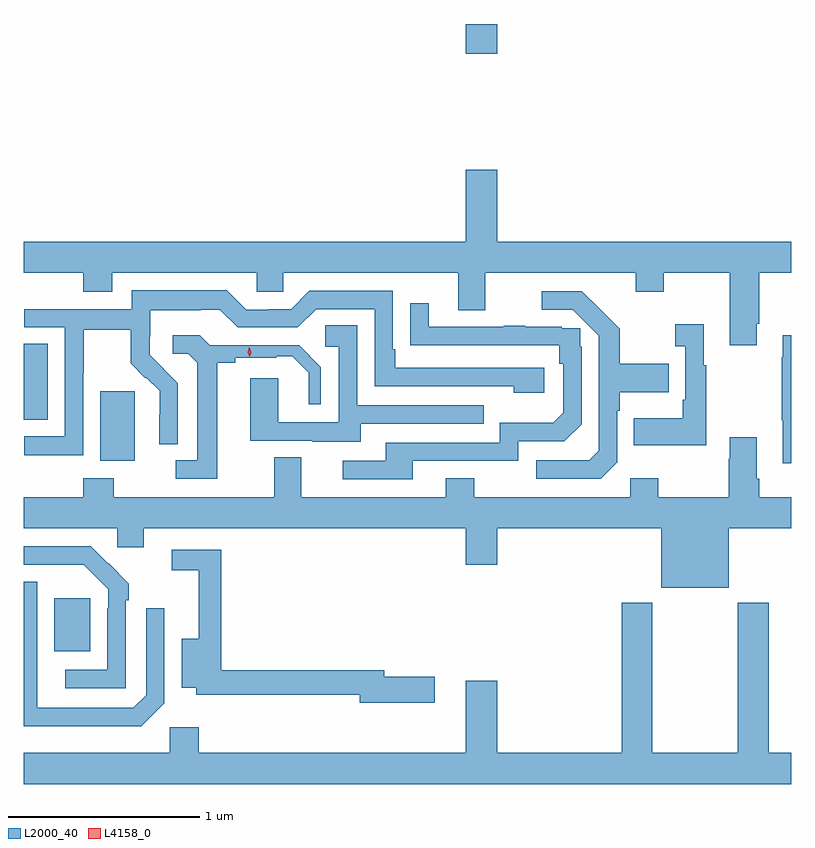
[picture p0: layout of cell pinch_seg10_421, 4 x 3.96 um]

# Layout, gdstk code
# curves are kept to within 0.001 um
import gdstk
lib = gdstk.Library(unit=1e-6, precision=1e-09)
def R(c, l, rs):  # rectangles x0, y0, x1, y1
    for r in rs: c.add(gdstk.rectangle(r[:2], r[2:], *l))
def P(c, l, *ps):  # polygons
    for p in ps: c.add(gdstk.Polygon(p, *l))
L2000_40 = (2000, 40)
L4158_0 = (4158, 0)

pinch_seg10_421 = lib.new_cell('pinch_seg10_421')
R(pinch_seg10_421, L2000_40, [(354.671,1309.001,354.859,1309.276), (354.911,1309.994,355.09,1310.355), (354.512,1310.206,354.637,1310.603), (356.816,1312.116,356.98,1312.27)])
P(pinch_seg10_421, L2000_40, [(358.333,1310.707),(358.346,1310.707),(358.346,1310.972),(358.512,1310.972),(358.512,1311.136),(356.98,1311.136),(356.98,1311.511),(356.816,1311.511),(356.816,1311.136),(354.512,1311.136),(354.512,1310.972),(354.821,1310.972),(354.821,1310.873),(354.973,1310.873),(354.973,1310.972),(355.725,1310.972),(355.725,1310.874),(355.863,1310.874),(355.863,1310.972),(356.777,1310.972),(356.777,1310.778),(356.917,1310.778),(356.917,1310.972),(357.701,1310.972),(357.701,1310.873),(357.849,1310.873),(357.849,1310.972),(358.193,1310.972),(358.193,1310.595),(358.333,1310.595)],
  [(354.822,1310.452),(354.825,1310.452),(354.825,1310.676),(355.069,1310.676),(355.069,1310.501),(355.146,1310.424),(355.149,1310.427),(355.22,1310.357),(355.22,1310.234),(355.218,1310.234),(355.218,1310.08),(355.314,1310.08),(355.314,1310.398),(355.168,1310.546),(355.168,1310.643),(355.17,1310.643),(355.17,1310.777),(355.433,1310.777),(355.433,1310.781),(355.533,1310.781),(355.626,1310.688),(355.941,1310.688),(356.037,1310.784),(356.34,1310.784),(356.34,1310.382),(357.065,1310.382),(357.065,1310.348),(357.226,1310.348),(357.226,1310.478),(356.449,1310.478),(356.449,1310.575),(356.436,1310.575),(356.436,1310.88),(356.001,1310.88),(355.905,1310.784),(355.787,1310.784),(355.787,1310.781),(355.671,1310.781),(355.571,1310.881),(355.074,1310.881),(355.074,1310.784),(354.513,1310.784),(354.513,1310.688),(354.726,1310.688),(354.726,1310.121),(354.513,1310.121),(354.513,1310.023),(354.822,1310.023)],
  [(357.606,1309.986),(357.606,1310.255),(357.619,1310.255),(357.619,1310.351),(357.875,1310.351),(357.875,1310.499),(357.619,1310.499),(357.619,1310.681),(357.421,1310.877),(357.213,1310.877),(357.213,1310.781),(357.374,1310.781),(357.51,1310.645),(357.51,1310.046),(357.459,1309.995),(357.183,1309.995),(357.183,1309.899),(357.519,1309.899)],
  [(356.539,1309.992),(357.09,1309.992),(357.09,1310.094),(357.33,1310.094),(357.42,1310.184),(357.42,1310.588),(357.413,1310.588),(357.413,1310.684),(357.317,1310.684),(357.317,1310.691),(357.125,1310.691),(357.125,1310.696),(357.013,1310.696),(357.013,1310.691),(356.623,1310.691),(356.623,1310.815),(356.527,1310.815),(356.527,1310.596),(357.304,1310.595),(357.304,1310.498),(357.324,1310.498),(357.324,1310.244),(357.271,1310.191),(356.994,1310.191),(356.994,1310.088),(356.399,1310.088),(356.399,1309.992),(356.175,1309.992),(356.175,1309.896),(356.539,1309.896)],
  [(358.069,1310.491),(358.057,1310.491),(358.057,1310.704),(357.909,1310.704),(357.909,1310.591),(357.96,1310.591),(357.96,1310.311),(357.948,1310.311),(357.948,1310.215),(357.691,1310.215),(357.691,1310.075),(358.069,1310.075)],
  [(356.269,1310.187),(356.909,1310.187),(356.909,1310.283),(356.25,1310.283),(356.25,1310.699),(356.082,1310.699),(356.082,1310.588),(356.154,1310.588),(356.154,1310.193),(355.837,1310.193),(355.837,1310.422),(355.691,1310.422),(355.691,1310.097),(356.015,1310.097),(356.015,1310.093),(356.269,1310.093)],
  [(358.512,1310.647),(358.469,1310.647),(358.469,1310.534),(358.462,1310.534),(358.462,1310.203),(358.469,1310.203),(358.469,1309.98),(358.512,1309.98)],
  [(355.519,1310.505),(355.615,1310.505),(355.615,1310.53),(355.828,1310.53),(355.828,1310.538),(355.911,1310.538),(355.997,1310.452),(355.997,1310.289),(356.061,1310.289),(356.061,1310.481),(355.947,1310.595),(355.48,1310.595),(355.428,1310.647),(355.287,1310.647),(355.287,1310.55),(355.368,1310.55),(355.415,1310.503),(355.415,1309.995),(355.305,1309.995),(355.305,1309.899),(355.519,1309.899)],
  [(358.186,1309.64),(358.512,1309.64),(358.512,1309.804),(358.346,1309.804),(358.346,1309.9),(358.333,1309.9),(358.333,1310.116),(358.193,1310.116),(358.193,1310.003),(358.186,1310.003),(358.186,1309.804),(357.819,1309.804),(357.819,1309.903),(357.672,1309.903),(357.672,1309.804),(356.859,1309.804),(356.859,1309.903),(356.711,1309.903),(356.711,1309.804),(355.957,1309.804),(355.957,1310.012),(355.817,1310.012),(355.817,1309.804),(354.981,1309.804),(354.981,1309.903),(354.821,1309.903),(354.821,1309.804),(354.512,1309.804),(354.512,1309.64),(354.999,1309.64),(354.999,1309.542),(355.138,1309.542),(355.138,1309.64),(356.816,1309.64),(356.816,1309.452),(356.98,1309.452),(356.98,1309.64),(357.836,1309.64),(357.836,1309.331),(358.186,1309.331)],
  [(355.044,1309.265),(355.059,1309.265),(355.059,1309.353),(354.862,1309.548),(354.512,1309.548),(354.512,1309.452),(354.823,1309.452),(354.951,1309.323),(354.951,1309.223),(354.948,1309.223),(354.948,1308.903),(354.729,1308.903),(354.729,1308.807),(355.044,1308.807)],
  [(356.653,1308.866),(356.392,1308.866),(356.392,1308.902),(355.541,1308.902),(355.541,1309.53),(355.284,1309.53),(355.284,1309.422),(355.424,1309.422),(355.424,1309.066),(355.334,1309.066),(355.334,1308.809),(355.41,1308.809),(355.41,1308.774),(356.264,1308.774),(356.264,1308.731),(356.653,1308.731)],
  [(355.245,1308.729),(355.245,1309.225),(355.149,1309.225),(355.149,1308.771),(355.083,1308.705),(354.583,1308.705),(354.583,1308.905),(354.582,1308.905),(354.582,1309.362),(354.512,1309.362),(354.512,1308.608),(355.124,1308.608)],
  [(358.512,1308.472),(358.394,1308.472),(358.394,1309.252),(358.234,1309.252),(358.234,1308.472),(357.789,1308.472),(357.789,1309.252),(357.629,1309.252),(357.629,1308.472),(356.98,1308.472),(356.98,1308.847),(356.816,1308.847),(356.816,1308.472),(355.424,1308.472),(355.424,1308.604),(355.272,1308.604),(355.272,1308.472),(354.512,1308.472),(354.512,1308.308),(358.512,1308.308)])
P(pinch_seg10_421, L4158_0, [(355.689,1310.535),(355.689,1310.535),(355.678,1310.56),(355.687,1310.586),(355.687,1310.586),(355.687,1310.586),(355.698,1310.56),(355.689,1310.535)])

lib.write_gds('pinch_seg10_421.gds')
